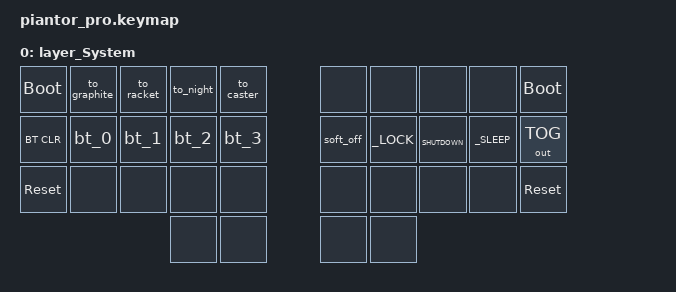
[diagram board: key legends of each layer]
/* Piantor Pro 34-key wrapper on a 42-key board. */

#include <zmk-helpers/key-labels/36.h>

#undef LH0
#undef LH1
#undef LH2
#undef RH0
#undef RH1
#undef RH2
#define LH2 30
#define LH1 31
#define RH1 32
#define RH2 33

#include "base.keymap"

/ {
    keymap {
        compatible = "zmk,keymap";

        layer_System {
            bindings = <
     &bootloader   &to_graphite  &to_racket    &to_night &to_caster   &none       &none        &none        &none      &bootloader
     &bt BT_CLR    &bt_0         &bt_1         &bt_2         &bt_3              &soft_off   &kp _LOCK    &kp _SHUTDOWN &kp _SLEEP &out OUT_TOG
     &sys_reset    &none         &none         &none         &none              &none       &none        &none        &none      &sys_reset
                                        &none                &none              &none       &none
            >;
        };

    };
};
